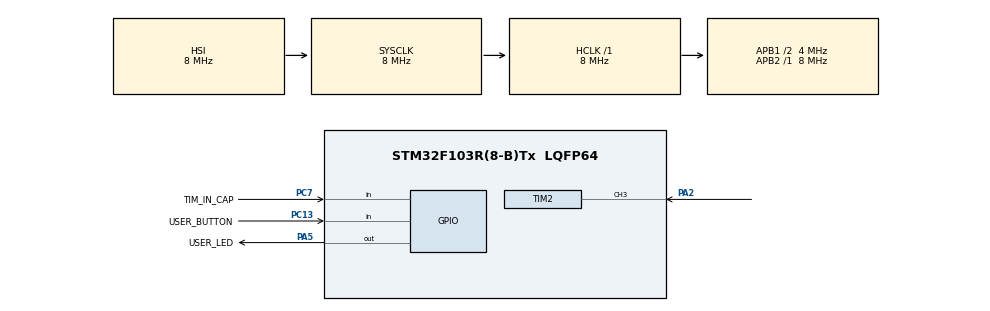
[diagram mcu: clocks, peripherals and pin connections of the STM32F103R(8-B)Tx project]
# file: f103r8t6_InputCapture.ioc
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Mcu.Family=STM32F1
Mcu.Name=STM32F103R(8-B)Tx
Mcu.Package=LQFP64
NVIC.PriorityGroup=NVIC_PRIORITYGROUP_4
NVIC.TIM2_IRQn=true\:0\:0\:false\:false\:true\:true\:true\:true
PA13.Mode=Trace_Asynchronous_SW
PA13.Signal=SYS_JTMS-SWDIO
PA14.Mode=Trace_Asynchronous_SW
PA14.Signal=SYS_JTCK-SWCLK
PA2.Signal=S_TIM2_CH3
PA5.GPIO_Label=USER_LED
PA5.GPIO_Speed=GPIO_SPEED_FREQ_MEDIUM
PA5.Signal=GPIO_Output
PB3.Mode=Trace_Asynchronous_SW
PB3.Signal=SYS_JTDO-TRACESWO
PC13-TAMPER-RTC.GPIO_Label=USER_BUTTON
PC13-TAMPER-RTC.Signal=GPIO_Input
PC7.GPIO_Label=TIM_IN_CAP
PC7.Signal=GPIO_Input
ProjectManager.HeapSize=0x200
ProjectManager.StackSize=0x400
ProjectManager.TargetToolchain=STM32CubeIDE
RCC.AHBFreq_Value=8000000
RCC.APB1CLKDivider=RCC_HCLK_DIV2
RCC.APB1Freq_Value=4000000
RCC.APB1TimFreq_Value=8000000
RCC.APB2Freq_Value=8000000
RCC.APB2TimFreq_Value=8000000
RCC.HCLKFreq_Value=8000000
RCC.PLLMUL=RCC_PLL_MUL16
RCC.SYSCLKFreq_VALUE=8000000
RCC.USBFreq_Value=64000000
SH.S_TIM2_CH3.0=TIM2_CH3,Input_Capture3_from_TI3
TIM1.Period=100-1
TIM1.Prescaler=8-1
TIM2.Channel-Input_Capture3_from_TI3=TIM_CHANNEL_3
TIM2.Prescaler=8-1
VP_TIM1_VS_ClockSourceINT.Mode=Internal
VP_TIM2_VS_ClockSourceINT.Mode=Internal
board=custom

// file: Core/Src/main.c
/* USER CODE BEGIN Header */
/**
  ******************************************************************************
  * @file           : main.c
  * @brief          : Main program body
  ******************************************************************************
  * @attention
  *
  * Copyright (c) 2025 STMicroelectronics.
  * All rights reserved.
  *
  * This software is licensed under terms that can be found in the LICENSE file
  * in the root directory of this software component.
  * If no LICENSE file comes with this software, it is provided AS-IS.
  *
  ******************************************************************************
  */
/* USER CODE END Header */
#include "main.h"

TIM_HandleTypeDef htim1;
TIM_HandleTypeDef htim2;

void SystemClock_Config(void);
static void MX_GPIO_Init(void);
static void MX_TIM1_Init(void);
static void MX_TIM2_Init(void);
/* USER CODE BEGIN PFP */
void TIM3_Config(void);
void TIM3_Start(void);
void TIM3_CH2_InputCapture_Config(void);
void TIM3_CH2_InputCapture_Start(void);
/* USER CODE END PFP */

/* USER CODE BEGIN 0 */

#define TIMCLOCK 	8000000.0f
#define PRESCALER	8.0f
#define REFCLOCK 	(TIMCLOCK/PRESCALER)

uint32_t IC_Val1 = 0;
uint32_t IC_Val2 = 0;
uint32_t Difference = 0;
uint8_t Is_First_Captured= 0;
float frequency = 0.0;

void HAL_TIM_IC_CaptureCallback(TIM_HandleTypeDef *htim)
{
	if(htim -> Channel == HAL_TIM_ACTIVE_CHANNEL_3)
	{
		if(Is_First_Captured == 0)
		{
			//GPIOA -> BSRR = (1<<5);
			IC_Val1 = HAL_TIM_ReadCapturedValue(htim, TIM_CHANNEL_3);
			Is_First_Captured = 1;
		}
		else
		{
			//GPIOA -> BSRR = (1<<21);
			IC_Val2 = HAL_TIM_ReadCapturedValue(htim, TIM_CHANNEL_3);

			if(IC_Val2 > IC_Val1)
			{
				Difference = IC_Val2 - IC_Val1;
			}
			else
			{
				Difference = (TIM2->ARR - IC_Val1) + IC_Val2;
			}

			frequency = REFCLOCK/((float)Difference);
			__HAL_TIM_SET_COUNTER(htim, 0);
			Is_First_Captured = 0;
		}
	}
}

/* USER CODE END 0 */

int main(void)
{

  /* MCU Configuration--------------------------------------------------------*/

  /* Reset of all peripherals, Initializes the Flash interface and the Systick. */
  HAL_Init();

  /* Configure the system clock */
  SystemClock_Config();

  /* Initialize all configured peripherals */
  MX_GPIO_Init();
  MX_TIM1_Init();
  MX_TIM2_Init();
  /* USER CODE BEGIN 2 */

  //TIM1 CH1
  //TIM1 -> CCR1 = 75;
  //HAL_TIM_PWM_Start(&htim1, TIM_CHANNEL_1);
  TIM1 -> CR1 |= TIM_CR1_CEN;
  HAL_TIM_IC_Start_IT(&htim2, TIM_CHANNEL_3);

  /* USER CODE END 2 */

  /* Infinite loop */
  /* USER CODE BEGIN WHILE */
  while (1)
  {
	  if(TIM1->SR & TIM_SR_UIF)
	  {
		  TIM1->SR &= ~TIM_SR_UIF;
		  HAL_GPIO_TogglePin(USER_LED_GPIO_Port, USER_LED_Pin);
	  }

    /* USER CODE END WHILE */

  }
}

void SystemClock_Config(void)
{
  RCC_OscInitTypeDef RCC_OscInitStruct = {0};
  RCC_ClkInitTypeDef RCC_ClkInitStruct = {0};

  /** Initializes the RCC Oscillators according to the specified parameters
  * in the RCC_OscInitTypeDef structure.
  */
  RCC_OscInitStruct.OscillatorType = RCC_OSCILLATORTYPE_HSI;
  RCC_OscInitStruct.HSIState = RCC_HSI_ON;
  RCC_OscInitStruct.HSICalibrationValue = RCC_HSICALIBRATION_DEFAULT;
  RCC_OscInitStruct.PLL.PLLState = RCC_PLL_NONE;
  if (HAL_RCC_OscConfig(&RCC_OscInitStruct) != HAL_OK)
  {
    Error_Handler();
  }

  /** Initializes the CPU, AHB and APB buses clocks
  */
  RCC_ClkInitStruct.ClockType = RCC_CLOCKTYPE_HCLK|RCC_CLOCKTYPE_SYSCLK
                              |RCC_CLOCKTYPE_PCLK1|RCC_CLOCKTYPE_PCLK2;
  RCC_ClkInitStruct.SYSCLKSource = RCC_SYSCLKSOURCE_HSI;
  RCC_ClkInitStruct.AHBCLKDivider = RCC_SYSCLK_DIV1;
  RCC_ClkInitStruct.APB1CLKDivider = RCC_HCLK_DIV2;
  RCC_ClkInitStruct.APB2CLKDivider = RCC_HCLK_DIV1;

  if (HAL_RCC_ClockConfig(&RCC_ClkInitStruct, FLASH_LATENCY_0) != HAL_OK)
  {
    Error_Handler();
  }
}

static void MX_TIM1_Init(void)
{

  TIM_ClockConfigTypeDef sClockSourceConfig = {0};
  TIM_MasterConfigTypeDef sMasterConfig = {0};

  htim1.Instance = TIM1;
  htim1.Init.Prescaler = 8-1;
  htim1.Init.CounterMode = TIM_COUNTERMODE_UP;
  htim1.Init.Period = 100-1;
  htim1.Init.ClockDivision = TIM_CLOCKDIVISION_DIV1;
  htim1.Init.RepetitionCounter = 0;
  htim1.Init.AutoReloadPreload = TIM_AUTORELOAD_PRELOAD_DISABLE;
  if (HAL_TIM_Base_Init(&htim1) != HAL_OK)
  {
    Error_Handler();
  }
  sClockSourceConfig.ClockSource = TIM_CLOCKSOURCE_INTERNAL;
  if (HAL_TIM_ConfigClockSource(&htim1, &sClockSourceConfig) != HAL_OK)
  {
    Error_Handler();
  }
  sMasterConfig.MasterOutputTrigger = TIM_TRGO_RESET;
  sMasterConfig.MasterSlaveMode = TIM_MASTERSLAVEMODE_DISABLE;
  if (HAL_TIMEx_MasterConfigSynchronization(&htim1, &sMasterConfig) != HAL_OK)
  {
    Error_Handler();
  }

}

static void MX_TIM2_Init(void)
{

  TIM_ClockConfigTypeDef sClockSourceConfig = {0};
  TIM_MasterConfigTypeDef sMasterConfig = {0};
  TIM_IC_InitTypeDef sConfigIC = {0};

  htim2.Instance = TIM2;
  htim2.Init.Prescaler = 8-1;
  htim2.Init.CounterMode = TIM_COUNTERMODE_UP;
  htim2.Init.Period = 65535;
  htim2.Init.ClockDivision = TIM_CLOCKDIVISION_DIV1;
  htim2.Init.AutoReloadPreload = TIM_AUTORELOAD_PRELOAD_DISABLE;
  if (HAL_TIM_Base_Init(&htim2) != HAL_OK)
  {
    Error_Handler();
  }
  sClockSourceConfig.ClockSource = TIM_CLOCKSOURCE_INTERNAL;
  if (HAL_TIM_ConfigClockSource(&htim2, &sClockSourceConfig) != HAL_OK)
  {
    Error_Handler();
  }
  if (HAL_TIM_IC_Init(&htim2) != HAL_OK)
  {
    Error_Handler();
  }
  sMasterConfig.MasterOutputTrigger = TIM_TRGO_RESET;
  sMasterConfig.MasterSlaveMode = TIM_MASTERSLAVEMODE_DISABLE;
  if (HAL_TIMEx_MasterConfigSynchronization(&htim2, &sMasterConfig) != HAL_OK)
  {
    Error_Handler();
  }
  sConfigIC.ICPolarity = TIM_INPUTCHANNELPOLARITY_RISING;
  sConfigIC.ICSelection = TIM_ICSELECTION_DIRECTTI;
  sConfigIC.ICPrescaler = TIM_ICPSC_DIV1;
  sConfigIC.ICFilter = 0;
  if (HAL_TIM_IC_ConfigChannel(&htim2, &sConfigIC, TIM_CHANNEL_3) != HAL_OK)
  {
    Error_Handler();
  }

}

static void MX_GPIO_Init(void)
{
  GPIO_InitTypeDef GPIO_InitStruct = {0};

  /* GPIO Ports Clock Enable */
  __HAL_RCC_GPIOC_CLK_ENABLE();
  __HAL_RCC_GPIOA_CLK_ENABLE();
  __HAL_RCC_GPIOB_CLK_ENABLE();

  /*Configure GPIO pin Output Level */
  HAL_GPIO_WritePin(USER_LED_GPIO_Port, USER_LED_Pin, GPIO_PIN_RESET);

  /*Configure GPIO pins : USER_BUTTON_Pin TIM_IN_CAP_Pin */
  GPIO_InitStruct.Pin = USER_BUTTON_Pin|TIM_IN_CAP_Pin;
  GPIO_InitStruct.Mode = GPIO_MODE_INPUT;
  GPIO_InitStruct.Pull = GPIO_NOPULL;
  HAL_GPIO_Init(GPIOC, &GPIO_InitStruct);

  /*Configure GPIO pin : USER_LED_Pin */
  GPIO_InitStruct.Pin = USER_LED_Pin;
  GPIO_InitStruct.Mode = GPIO_MODE_OUTPUT_PP;
  GPIO_InitStruct.Pull = GPIO_NOPULL;
  GPIO_InitStruct.Speed = GPIO_SPEED_FREQ_MEDIUM;
  HAL_GPIO_Init(USER_LED_GPIO_Port, &GPIO_InitStruct);

}

void Error_Handler(void)
{
  __disable_irq();
  while (1)
  {
  }
}
